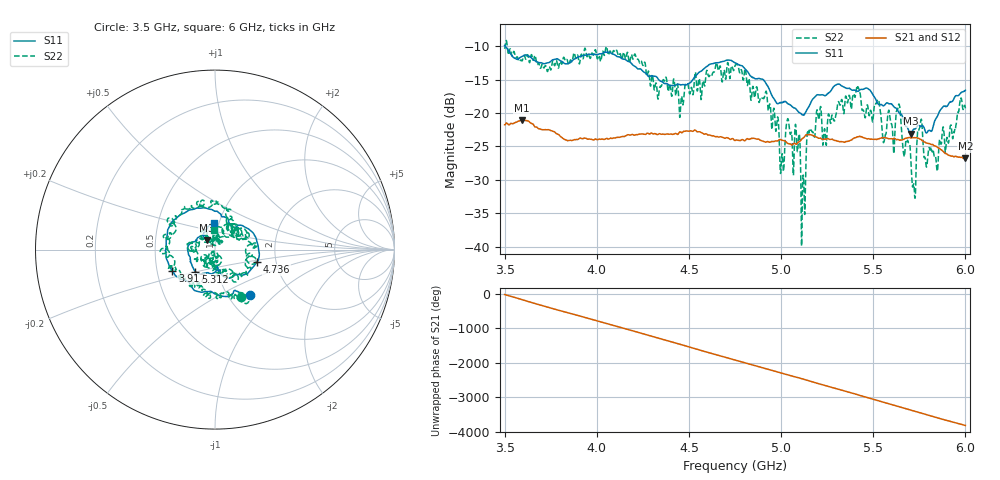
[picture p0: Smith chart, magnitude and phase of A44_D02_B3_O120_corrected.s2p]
! Created with skrf 1.9.0 (http://scikit-rf.org).
# Hz S RI R 50.0
!freq ReS11 ImS11 ReS21 ImS21 ReS12 ImS12 ReS22 ImS22
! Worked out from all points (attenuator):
!   1601 points, 3.5 GHz to 6 GHz, reference 50 ohm
!   highest |S21| = -21.07 dB at 3.592 GHz (marker M1); lowest = -26.8 dB at 6 GHz (marker M2)
!   lowest |S11| = -23.1 dB at 5.703 GHz (marker M3), VSWR 1.15, Z = 45.3 + j4.79 ohm
!   |S11| at or under -10 dB: 3.504 GHz to end of sweep
!   |S22| runs from -39.9 to -9.1 dB; largest |S21 - S12| = 0.001
!   S11 on the Smith chart (normalised r, x): 3.5 GHz: 1.25, -0.71; 3.917 GHz: 0.60, -0.15; 4.736 GHz: 1.59, -0.23; 5.312 GHz: 0.78, -0.20; 6 GHz: 0.95, +0.29
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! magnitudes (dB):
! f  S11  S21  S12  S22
! 3.5 GHz  -9.9  -21.8  -21.8  -10.4
! 3.592 GHz  -11.6  -21.1  -21.1  -12.2
! 3.917 GHz  -11.5  -23.8  -23.8  -11.2
! 4.213 GHz  -13.1  -23.3  -23.3  -11.6
! 4.334 GHz  -15.0  -23.2  -23.1  -17.7
! 4.736 GHz  -12.3  -23.8  -23.9  -13.2
! 4.75 GHz  -12.5  -24.1  -24.0  -12.9
! 4.916 GHz  -15.5  -24.4  -24.3  -16.9
! 5.005 GHz  -18.4  -24.1  -24.1  -26.2
! 5.034 GHz  -18.6  -24.5  -24.4  -21.0
! 5.088 GHz  -19.6  -24.6  -24.5  -25.7
! 5.12 GHz  -20.3  -23.7  -23.7  -29.3
! 5.147 GHz  -19.3  -23.3  -23.2  -23.0
! 5.167 GHz  -18.1  -23.3  -23.3  -22.8
! 5.312 GHz  -15.7  -24.2  -24.2  -18.3
! 5.584 GHz  -18.6  -23.9  -23.8  -19.6
! 5.638 GHz  -19.9  -24.0  -24.0  -18.8
! 5.703 GHz  -23.1  -23.7  -23.7  -26.5
! 5.72 GHz  -22.4  -23.7  -23.7  -30.6
! 5.752 GHz  -21.9  -23.9  -23.8  -22.2
! 5.841 GHz  -20.8  -25.0  -25.0  -27.0
! 6 GHz  -16.6  -26.8  -26.7  -19.3
